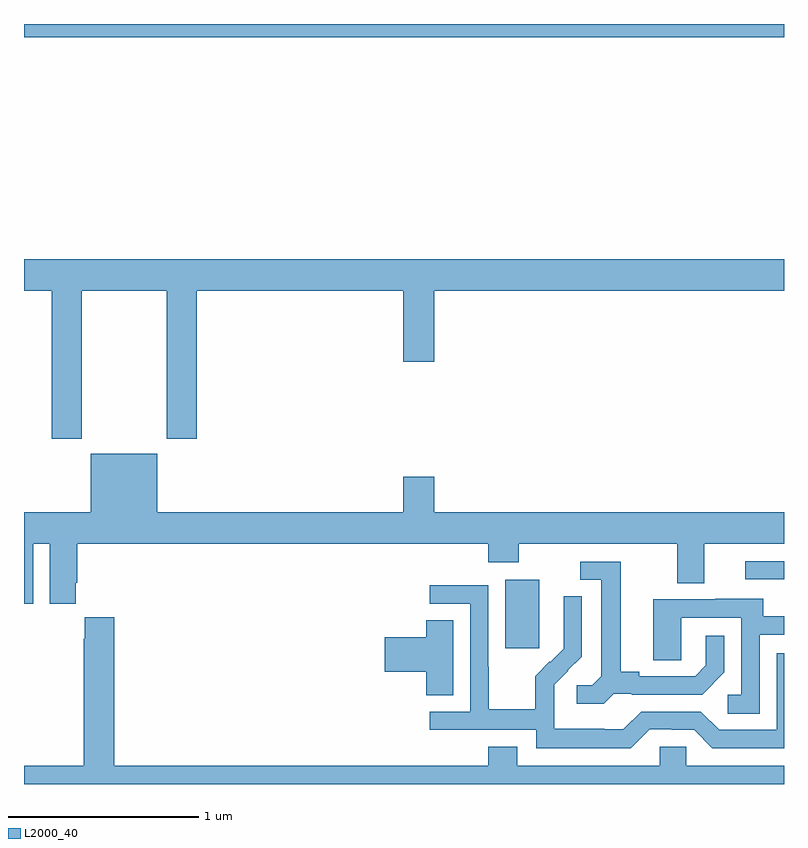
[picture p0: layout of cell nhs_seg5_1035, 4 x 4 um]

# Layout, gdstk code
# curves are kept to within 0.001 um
import gdstk
lib = gdstk.Library(unit=1e-6, precision=1e-09)
def R(c, l, rs):  # rectangles x0, y0, x1, y1
    for r in rs: c.add(gdstk.rectangle(r[:2], r[2:], *l))
def P(c, l, *ps):  # polygons
    for p in ps: c.add(gdstk.Polygon(p, *l))
L2000_40 = (2000, 40)

nhs_seg5_1035 = lib.new_cell('nhs_seg5_1035')
R(nhs_seg5_1035, L2000_40, [(177.533,885.513,177.712,885.874), (178.797,885.876,179,885.972), (175,888.728,179,888.799)])
P(nhs_seg5_1035, L2000_40, [(175.305,887.396),(175.75,887.396),(175.75,886.617),(175.91,886.617),(175.91,887.396),(176.996,887.396),(176.996,887.022),(177.16,887.022),(177.16,887.396),(179,887.396),(179,887.56),(175,887.56),(175,887.396),(175.145,887.396),(175.145,886.617),(175.305,886.617)],
  [(175.048,886.064),(175.136,886.064),(175.136,885.747),(175.273,885.747),(175.273,885.859),(175.28,885.859),(175.28,886.064),(177.443,886.064),(177.443,885.965),(177.603,885.965),(177.603,886.064),(178.439,886.064),(178.439,885.856),(178.579,885.856),(178.579,886.064),(179,886.064),(179,886.228),(177.16,886.228),(177.16,886.417),(176.996,886.417),(176.996,886.228),(175.702,886.228),(175.702,886.537),(175.352,886.537),(175.352,886.228),(175,886.228),(175,885.747),(175.048,885.747)],
  [(178.104,885.273),(178.198,885.273),(178.198,885.27),(178.57,885.27),(178.686,885.386),(178.686,885.58),(178.589,885.58),(178.589,885.423),(178.532,885.366),(178.237,885.366),(178.237,885.389),(178.141,885.389),(178.141,885.969),(177.927,885.969),(177.927,885.873),(178.037,885.873),(178.037,885.365),(177.99,885.318),(177.909,885.318),(177.909,885.221),(178.052,885.221)],
  [(178.293,885.087),(178.409,885.087),(178.409,885.084),(178.527,885.084),(178.623,884.988),(179,884.988),(179,885.486),(178.962,885.486),(178.962,885.084),(178.659,885.084),(178.563,885.18),(178.248,885.18),(178.155,885.087),(178.055,885.087),(178.055,885.091),(177.792,885.091),(177.792,885.225),(177.79,885.225),(177.79,885.322),(177.936,885.47),(177.936,885.788),(177.84,885.788),(177.84,885.634),(177.842,885.634),(177.842,885.512),(177.771,885.441),(177.768,885.444),(177.691,885.367),(177.691,885.193),(177.447,885.193),(177.447,885.416),(177.444,885.416),(177.444,885.846),(177.135,885.846),(177.135,885.747),(177.348,885.747),(177.348,885.18),(177.135,885.18),(177.135,885.084),(177.696,885.084),(177.696,884.987),(178.193,884.987)],
  [(178.872,885.585),(179,885.585),(179,885.681),(178.891,885.681),(178.891,885.775),(178.637,885.775),(178.637,885.771),(178.313,885.771),(178.313,885.451),(178.458,885.451),(178.458,885.675),(178.776,885.675),(178.776,885.27),(178.704,885.27),(178.704,885.169),(178.872,885.169)],
  [(179,884.896),(178.485,884.896),(178.485,884.994),(178.347,884.994),(178.347,884.896),(177.595,884.896),(177.595,884.995),(177.443,884.995),(177.443,884.896),(175.475,884.896),(175.475,885.676),(175.319,885.676),(175.319,885.563),(175.315,885.563),(175.315,884.896),(175,884.896),(175,884.799),(179,884.799)],
  [(177.259,885.662),(177.116,885.662),(177.116,885.572),(176.898,885.572),(176.898,885.389),(177.116,885.389),(177.116,885.265),(177.259,885.265)])

lib.write_gds('nhs_seg5_1035.gds')
